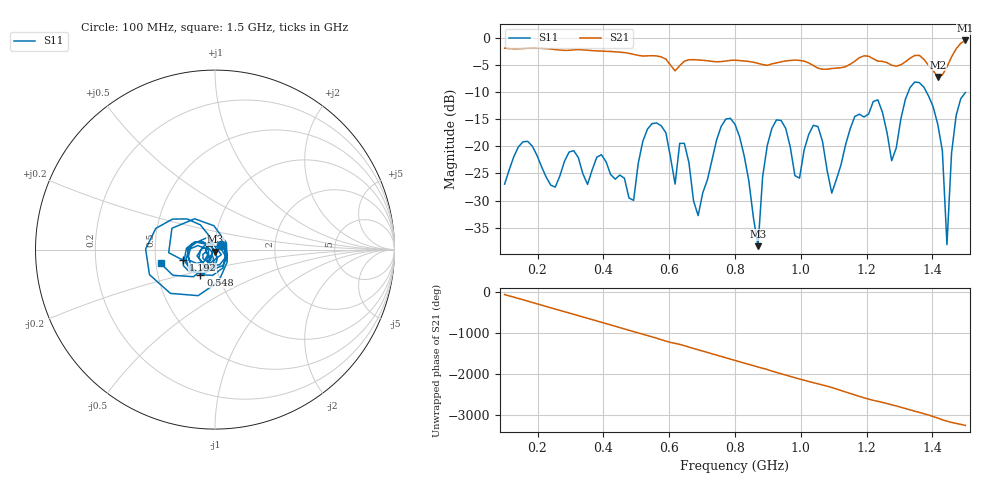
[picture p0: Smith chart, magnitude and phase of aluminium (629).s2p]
! NanoVNA-App
! Date: 2025-09-25 15:00:10
! Start: 100MHz Stop: 1,5GHz Points: 101
! S-Parameter data: F S11 S21 S12 S22
# Hz S RI R 50
!  Frequency  S11_Real  S11_Imag  S21_Real  S21_Imag  S12_Real  S12_Imag  S22_Real  S22_Imag
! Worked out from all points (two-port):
!   101 points, 100 MHz to 1.5 GHz, reference 50 ohm
!   highest |S21| = -0.50 dB at 1.5 GHz (marker M1); lowest = -7.2 dB at 1.416 GHz (marker M2)
!   |S21| within 3 dB of the highest: start of sweep to 573.2 MHz; 1.458 GHz to end of sweep (the widest 2 of 4)
!   lowest |S11| = -38.4 dB at 870 MHz (marker M3), VSWR 1.02, Z = 50.2 - j1.19 ohm
!   |S11| at or under -10 dB: start of sweep to 1.326 GHz; 1.382 GHz to end of sweep
!   S12 and S22 are empty: the file has one direction only
!   S11 on the Smith chart (normalised r, x): 100 MHz: 1.07, +0.06; 548 MHz: 0.82, -0.24; 1.192 GHz: 0.69, -0.08; 1.5 GHz: 0.53, -0.09
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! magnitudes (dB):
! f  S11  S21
! 100 MHz  -27.0  -1.9
! 156 MHz  -19.2  -2.0
! 338 MHz  -25.1  -2.2
! 492 MHz  -29.9  -3.1
! 548 MHz  -15.8  -3.3
! 576 MHz  -16.2  -3.5
! 646 MHz  -19.4  -4.3
! 688 MHz  -32.8  -4.1
! 800 MHz  -15.9  -4.1
! 870 MHz  -38.4  -4.7
! 912 MHz  -16.7  -4.8
! 996 MHz  -25.9  -4.2
! 1.038 GHz  -16.1  -5.1
! 1.094 GHz  -28.6  -5.7
! 1.192 GHz  -14.6  -3.3
! 1.234 GHz  -11.4  -4.3
! 1.276 GHz  -22.6  -5.1
! 1.346 GHz  -8.2  -3.3
! 1.416 GHz  -15.9  -7.2
! 1.444 GHz  -38.1  -5.4
! 1.458 GHz  -21.2  -3.5
! 1.5 GHz  -10.1  -0.5
